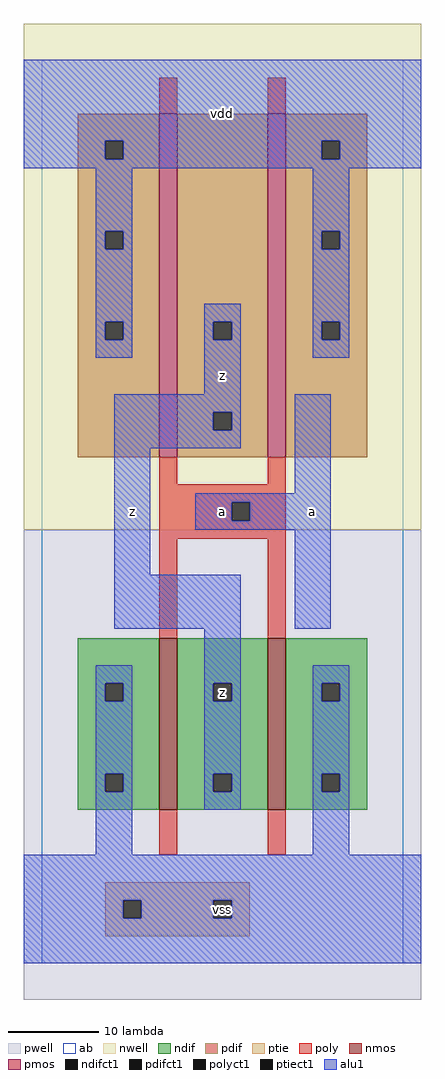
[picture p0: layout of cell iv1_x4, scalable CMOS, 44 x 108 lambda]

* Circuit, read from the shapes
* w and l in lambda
.subckt iv1_x4 a vdd vss z
M1 z a vss vss nfet w=19 l=2 m=2
M2 z a vdd n1 pfet w=38 l=2 m=2
.ends

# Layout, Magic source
magic
tech scmos
<< ab >>
rect 0 0 40 100
<< nwell >>
rect -2 48 42 104
<< pwell >>
rect -2 -4 42 48
<< poly >>
rect 13 94 15 98
rect 25 94 27 98
rect 13 53 15 56
rect 25 53 27 56
rect 13 51 27 53
rect 13 49 21 51
rect 23 49 27 51
rect 13 47 27 49
rect 13 36 15 47
rect 25 36 27 47
rect 13 12 15 17
rect 25 12 27 17
<< ndif >>
rect 4 31 13 36
rect 4 29 7 31
rect 9 29 13 31
rect 4 21 13 29
rect 4 19 7 21
rect 9 19 13 21
rect 4 17 13 19
rect 15 31 25 36
rect 15 29 19 31
rect 21 29 25 31
rect 15 21 25 29
rect 15 19 19 21
rect 21 19 25 21
rect 15 17 25 19
rect 27 31 36 36
rect 27 29 31 31
rect 33 29 36 31
rect 27 21 36 29
rect 27 19 31 21
rect 33 19 36 21
rect 27 17 36 19
<< pdif >>
rect 4 91 13 94
rect 4 89 7 91
rect 9 89 13 91
rect 4 81 13 89
rect 4 79 7 81
rect 9 79 13 81
rect 4 71 13 79
rect 4 69 7 71
rect 9 69 13 71
rect 4 56 13 69
rect 15 71 25 94
rect 15 69 19 71
rect 21 69 25 71
rect 15 61 25 69
rect 15 59 19 61
rect 21 59 25 61
rect 15 56 25 59
rect 27 91 36 94
rect 27 89 31 91
rect 33 89 36 91
rect 27 81 36 89
rect 27 79 31 81
rect 33 79 36 81
rect 27 71 36 79
rect 27 69 31 71
rect 33 69 36 71
rect 27 56 36 69
<< alu1 >>
rect -2 91 42 100
rect -2 89 7 91
rect 9 89 31 91
rect 33 89 42 91
rect -2 88 42 89
rect 6 81 10 88
rect 6 79 7 81
rect 9 79 10 81
rect 6 71 10 79
rect 30 81 34 88
rect 30 79 31 81
rect 33 79 34 81
rect 6 69 7 71
rect 9 69 10 71
rect 6 67 10 69
rect 18 71 22 73
rect 18 69 19 71
rect 21 69 22 71
rect 18 63 22 69
rect 30 71 34 79
rect 30 69 31 71
rect 33 69 34 71
rect 30 67 34 69
rect 8 61 22 63
rect 8 59 19 61
rect 21 59 22 61
rect 8 57 22 59
rect 8 43 12 57
rect 28 52 32 63
rect 17 51 32 52
rect 17 49 21 51
rect 23 49 32 51
rect 17 48 32 49
rect 8 37 22 43
rect 28 37 32 48
rect 6 31 10 33
rect 6 29 7 31
rect 9 29 10 31
rect 6 21 10 29
rect 6 19 7 21
rect 9 19 10 21
rect 6 12 10 19
rect 18 31 22 37
rect 18 29 19 31
rect 21 29 22 31
rect 18 21 22 29
rect 18 19 19 21
rect 21 19 22 21
rect 18 17 22 19
rect 30 31 34 33
rect 30 29 31 31
rect 33 29 34 31
rect 30 21 34 29
rect 30 19 31 21
rect 33 19 34 21
rect 30 12 34 19
rect -2 7 42 12
rect -2 5 9 7
rect 11 5 19 7
rect 21 5 42 7
rect -2 0 42 5
<< ptie >>
rect 7 7 23 9
rect 7 5 9 7
rect 11 5 19 7
rect 21 5 23 7
rect 7 3 23 5
<< nmos >>
rect 13 17 15 36
rect 25 17 27 36
<< pmos >>
rect 13 56 15 94
rect 25 56 27 94
<< polyct1 >>
rect 21 49 23 51
<< ndifct1 >>
rect 7 29 9 31
rect 7 19 9 21
rect 19 29 21 31
rect 19 19 21 21
rect 31 29 33 31
rect 31 19 33 21
<< ptiect1 >>
rect 9 5 11 7
rect 19 5 21 7
<< pdifct1 >>
rect 7 89 9 91
rect 7 79 9 81
rect 7 69 9 71
rect 19 69 21 71
rect 19 59 21 61
rect 31 89 33 91
rect 31 79 33 81
rect 31 69 33 71
<< labels >>
rlabel alu1 10 50 10 50 6 z
rlabel ptiect1 20 6 20 6 6 vss
rlabel ndifct1 20 30 20 30 6 z
rlabel alu1 20 50 20 50 6 a
rlabel alu1 20 65 20 65 6 z
rlabel alu1 20 94 20 94 6 vdd
rlabel alu1 30 50 30 50 6 a
<< end >>
